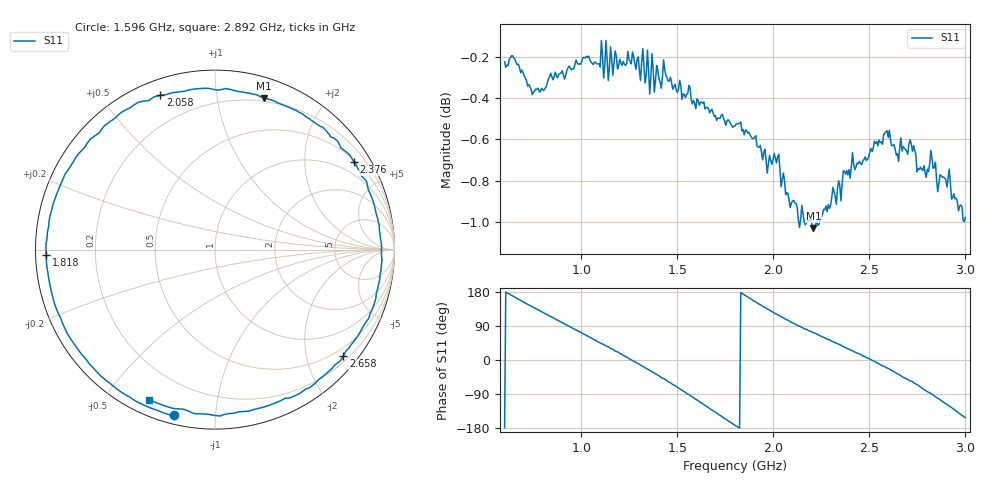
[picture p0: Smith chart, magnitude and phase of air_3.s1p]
! nanovna_capture.py 2026-10-18T19:22:26+0900
! NanoVNA-F_V2 fw 0.6.0 SN 4A3639384505514B
! cal: load open short cal'ed  over 600000000-3000000000 Hz, 201 points
! points 401, avg 4
! free air, >=10 cm, capture 3
# HZ S RI R 50
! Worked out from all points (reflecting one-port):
!   401 points, 600 MHz to 3 GHz, reference 50 ohm
!   lowest |S11| = -1.0 dB at 2.208 GHz (marker M1), VSWR 16.87, Z = 8.48 + j67.9 ohm
!   phase of S11 starts at -179 deg and turns -693 deg over the sweep
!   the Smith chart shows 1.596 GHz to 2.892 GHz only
!   S11 on the Smith chart (normalised r, x): 1.596 GHz: 0.04, -0.78; 1.818 GHz: 0.03, -0.02; 2.058 GHz: 0.07, +0.70; 2.376 GHz: 0.56, +3.38; 2.658 GHz: 0.32, -2.73; 2.892 GHz: 0.06, -0.65
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6e8  -0.9745 -0.0187
6.6e8  -0.9351 0.273
7.38e8  -0.7563 0.5909
8.28e8  -0.4564 0.8507
9e8  -0.1433 0.9593
1.032e9  0.4413 0.8716
1.116e9  0.7286 0.6341
1.2e9  0.9319 0.2902
1.266e9  0.9797 -0.0276
1.332e9  0.9024 -0.3367
1.434e9  0.6122 -0.7533
1.5e9  0.2919 -0.9126
1.596e9  -0.2267 -0.922
1.704e9  -0.7178 -0.612
1.8e9  -0.9318 -0.126
1.818e9  -0.9409 -0.0321
1.944e9  -0.7259 0.5695
2.058e9  -0.304 0.8598
2.1e9  -0.1283 0.8925
2.208e9  0.2715 0.8456
2.376e9  0.7748 0.4873
2.4e9  0.8158 0.4103
2.538e9  0.9247 -0.117
2.658e9  0.7144 -0.5939
2.7e9  0.5783 -0.7227
2.814e9  0.0505 -0.9192
2.892e9  -0.3679 -0.8359
3e9  -0.7883 -0.4205
